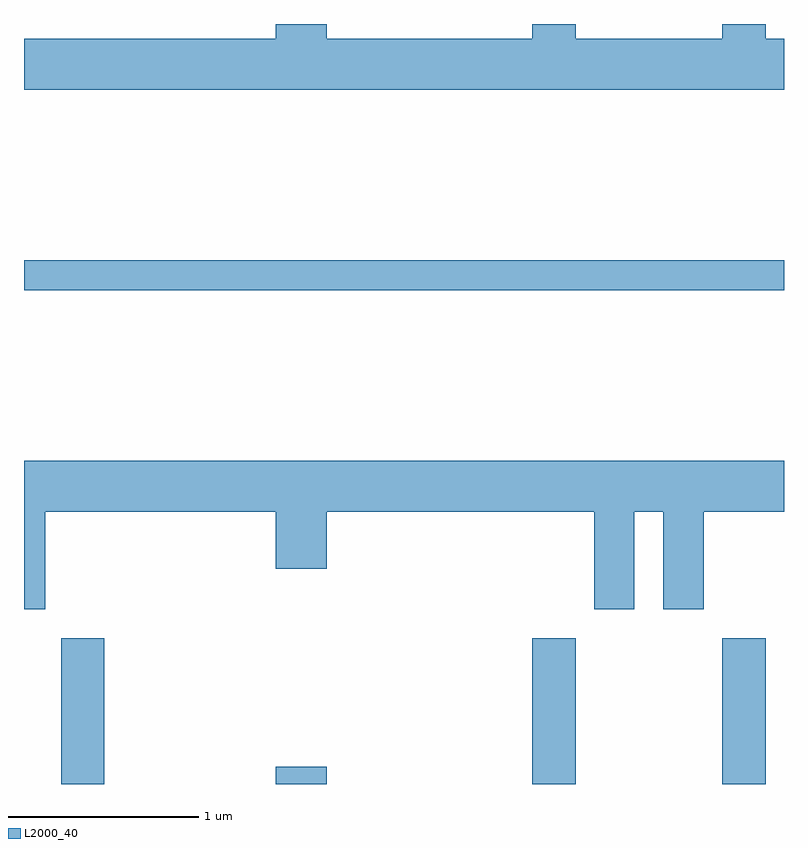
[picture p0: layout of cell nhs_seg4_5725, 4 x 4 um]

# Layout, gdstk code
import gdstk
lib = gdstk.Library(unit=1e-6, precision=1e-09)
def R(c, l, rs):  # rectangles x0, y0, x1, y1
    for r in rs: c.add(gdstk.rectangle(r[:2], r[2:], *l))
def P(c, l, *ps):  # polygons
    for p in ps: c.add(gdstk.Polygon(p, *l))
L2000_40 = (2000, 40)

nhs_seg4_5725 = lib.new_cell('nhs_seg4_5725')
R(nhs_seg4_5725, L2000_40, [(353.806,1279.982,354.034,1280.749), (354.936,1279.982,355.204,1280.074), (356.286,1279.982,356.514,1280.749), (357.286,1279.982,357.514,1280.749), (353.611,1282.581,357.611,1282.739)])
P(nhs_seg4_5725, L2000_40, [(357.611,1283.904),(357.514,1283.904),(357.514,1283.982),(357.286,1283.982),(357.286,1283.904),(356.514,1283.904),(356.514,1283.982),(356.286,1283.982),(356.286,1283.904),(355.204,1283.904),(355.204,1283.982),(354.936,1283.982),(354.936,1283.904),(353.611,1283.904),(353.611,1283.636),(357.611,1283.636)],
  [(353.724,1281.416),(354.936,1281.416),(354.936,1281.116),(355.204,1281.116),(355.204,1281.416),(356.611,1281.416),(356.611,1280.901),(356.824,1280.901),(356.824,1281.416),(356.976,1281.416),(356.976,1280.901),(357.189,1280.901),(357.189,1281.416),(357.611,1281.416),(357.611,1281.684),(353.611,1281.684),(353.611,1280.901),(353.724,1280.901)])

lib.write_gds('nhs_seg4_5725.gds')
